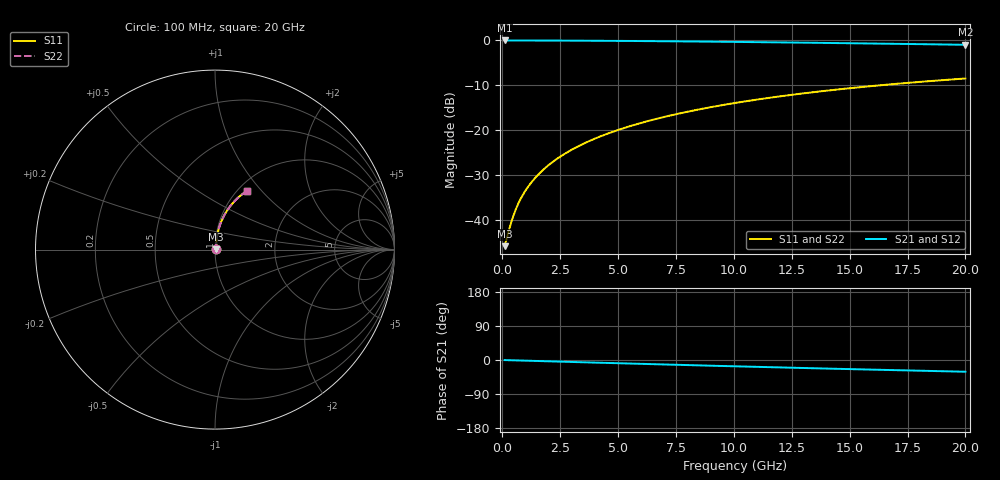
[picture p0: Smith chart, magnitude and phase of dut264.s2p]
! Touchstone file exported from HFSS 2024.1.0
!  File:  C:/UserFiles/LocalFiles/RDL_TSV_Batchsim/temp_RDL_top_264_1778689434.aedt
!  Generated:  12:26:13 AM May 14, 2026
!  Design:  RDL_top
!  Project:  temp_RDL_top_264_1778689434
!  Setup:  Setup1
!  Solution:  Sweep
! Variables:
!  dtsv = 10.80580581um
!  hbump = 3um
!  htsv = 73.89um
!  ldown = 100um
!  lrdl = 362.56um
!  p = 40
!  p1 = 46.85um
!  rhole = 1um
!  t = 450um
!  tdown = 3.915915916um
!  trdl = 2.27um
!  wdown = 15.38538539um
!  wrdl = 12.86um
# GHz S MA R 50.000000
! Terminal data exported
! Port[1] = Box2_T1
! Port[2] = Box2_T2
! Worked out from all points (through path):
!   200 points, 100 MHz to 20 GHz, reference 50 ohm
!   highest |S21| = -0.04 dB at 100 MHz (marker M1); lowest = -1.0 dB at 20 GHz (marker M2)
!   group delay of S21, straight-line fit = 4.3 ps
!   lowest |S11| = -45.9 dB at 100 MHz (marker M3), VSWR 1.01, Z = 50.5 + j0.21 ohm
!   |S11| at or under -10 dB: start of sweep to 16.41 GHz
!   |S22| runs from -45.9 to -8.5 dB; largest |S21 - S12| = 2.6e-15
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0.1  0.005042 24.4  0.9954 -0.2  0.9954 -0.2  0.005042 24.4
! Gamma 0 0 0 0
! Port Impedance 50 0 50 0
0.4  0.009552 59.9  0.9952 -0.7  0.9952 -0.7  0.009552 59.9
0.5  0.0114 64.5  0.9951 -0.9  0.9951 -0.9  0.0114 64.5
0.6  0.01329 67.8  0.995 -1.1  0.995 -1.1  0.01329 67.8
0.7  0.01521 70.2  0.9948 -1.2  0.9948 -1.2  0.01521 70.2
0.9  0.01906 73.5  0.9946 -1.6  0.9946 -1.6  0.01906 73.5
1.2  0.02487 76.4  0.9942 -2.1  0.9942 -2.1  0.02487 76.4
1.4  0.02876 77.7  0.9939 -2.5  0.9939 -2.5  0.02876 77.7
1.7  0.0346 79.0  0.9934 -3.0  0.9934 -3.0  0.0346 79.0
2.2  0.04437 80.2  0.9925 -3.8  0.9925 -3.8  0.04437 80.2
2.8  0.05617 80.9  0.9912 -4.8  0.9912 -4.8  0.05617 80.9
3.5  0.07 81.1  0.9894 -6.0  0.9894 -6.0  0.07 81.1
4.2  0.0839 80.9  0.9873 -7.2  0.9873 -7.2  0.0839 80.9
5  0.09982 80.5  0.9845 -8.6  0.9845 -8.6  0.09982 80.4
5.9  0.1178 79.7  0.9809 -10.1  0.9809 -10.1  0.1178 79.7
6.8  0.1357 78.8  0.9769 -11.5  0.9769 -11.5  0.1357 78.8
8.3  0.1655 77.1  0.9694 -13.9  0.9694 -13.9  0.1655 77.0
10.1  0.2007 74.7  0.9592 -16.8  0.9592 -16.8  0.2007 74.7
11.7  0.2313 72.6  0.9494 -19.2  0.9494 -19.2  0.2313 72.6
13.4  0.263 70.2  0.9383 -21.7  0.9383 -21.7  0.2629 70.2
16.7  0.3212 65.7  0.9151 -26.5  0.9151 -26.5  0.3212 65.6
20  0.3747 61.2  0.8906 -30.9  0.8906 -30.9  0.3746 61.2
